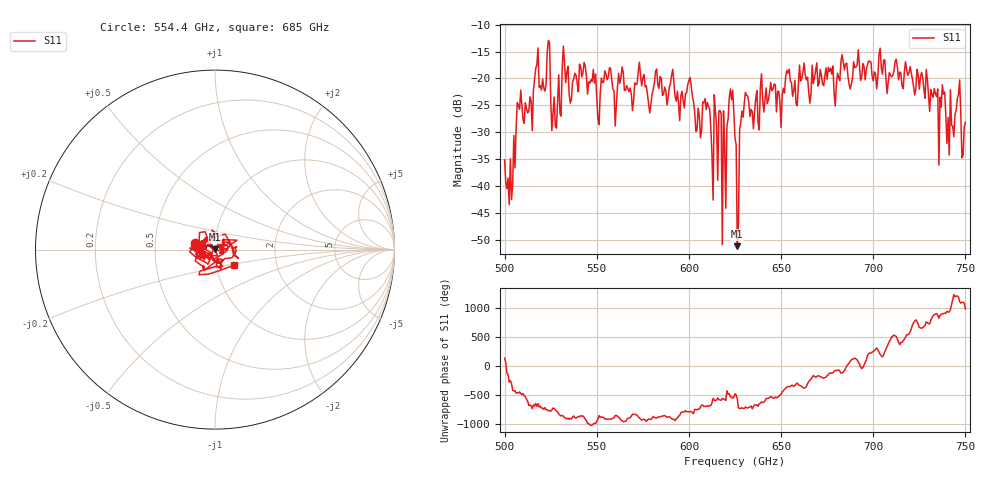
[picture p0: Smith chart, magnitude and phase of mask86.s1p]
!Created with skrf (http://scikit-rf.org).
# GHz S MA R 50.0
!freq magS11 angS11
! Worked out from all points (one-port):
!   401 points, 500 GHz to 750 GHz, reference 50 ohm
!   lowest |S11| = -51.2 dB at 626.2 GHz (marker M1), VSWR 1.01, Z = 49.8 + j0.135 ohm
!   |S11| at or under -10 dB: start of sweep to end of sweep
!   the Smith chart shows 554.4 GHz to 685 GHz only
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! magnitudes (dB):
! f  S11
! 500 GHz  -35.1
! 503.1 GHz  -34.9
! 507.5 GHz  -25.0
! 513.8 GHz  -23.4
! 516.9 GHz  -18.2
! 521.2 GHz  -21.8
! 523.8 GHz  -12.9
! 526.9 GHz  -23.5
! 531.2 GHz  -18.0
! 542.5 GHz  -19.0
! 551.2 GHz  -28.5
! 562.5 GHz  -20.9
! 593.8 GHz  -22.4
! 610 GHz  -24.4
! 611.9 GHz  -29.2
! 616.2 GHz  -26.1
! 619.4 GHz  -32.3
! 623.1 GHz  -24.0
! 625 GHz  -31.1
! 626.2 GHz  -51.2
! 631.2 GHz  -23.1
! 656.2 GHz  -23.3
! 687.5 GHz  -22.0
! 718.8 GHz  -19.4
! 737.5 GHz  -21.2
! 741.2 GHz  -34.3
! 746.2 GHz  -23.0
! 750 GHz  -28.1
